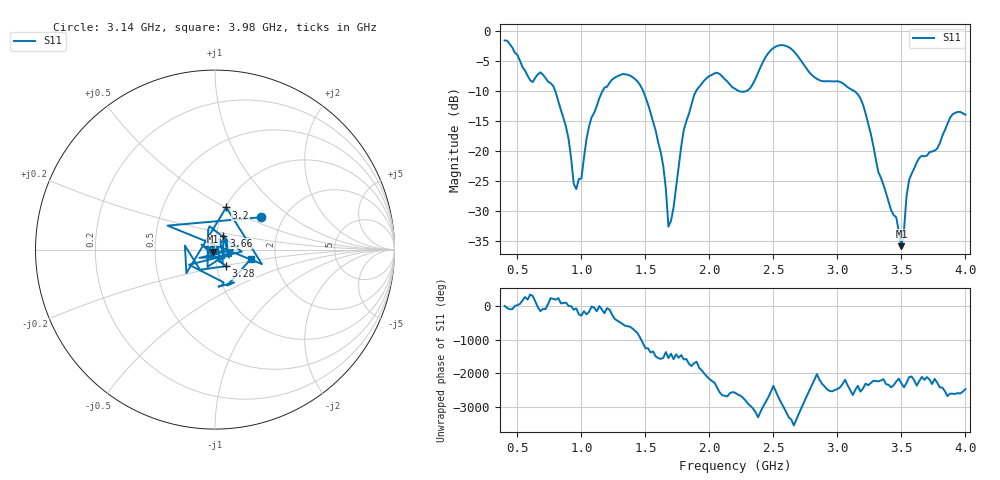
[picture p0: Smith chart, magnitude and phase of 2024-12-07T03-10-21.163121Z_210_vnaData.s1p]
!Created with skrf (http://scikit-rf.org).
# Hz S RI R 50.0
!freq ReS11 ImS11
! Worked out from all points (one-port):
!   181 points, 400 MHz to 4 GHz, reference 50 ohm
!   lowest |S11| = -35.9 dB at 3.5 GHz (marker M1), VSWR 1.03, Z = 49 - j1.2 ohm
!   |S11| at or under -10 dB: 795.3 MHz to 1.166 GHz (370.8 MHz wide, 37.8 % of centre); 1.482 GHz to 1.897 GHz (414.5 MHz wide, 24.5 % of centre); 3.129 GHz to end of sweep (the widest 3 of 4)
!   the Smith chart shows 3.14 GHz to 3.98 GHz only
!   S11 on the Smith chart (normalised r, x): 3.14 GHz: 1.53, +0.61; 3.2 GHz: 1.01, +0.50; 3.28 GHz: 1.11, -0.21; 3.66 GHz: 1.09, +0.17; 3.98 GHz: 1.48, -0.17
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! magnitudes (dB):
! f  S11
! 400 MHz  -1.6
! 600 MHz  -8.2
! 780 MHz  -9.2
! 860 MHz  -14.5
! 960 MHz  -26.4
! 1 GHz  -24.6
! 1.08 GHz  -14.4
! 1.3 GHz  -7.4
! 1.52 GHz  -12.2
! 1.64 GHz  -22.6
! 1.68 GHz  -32.6
! 1.76 GHz  -22.8
! 1.8 GHz  -16.5
! 1.9 GHz  -9.9
! 2.06 GHz  -7.0
! 2.2 GHz  -9.6
! 2.32 GHz  -9.5
! 2.5 GHz  -2.8
! 2.66 GHz  -3.4
! 3.1 GHz  -9.7
! 3.14 GHz  -10.1
! 3.2 GHz  -12.3
! 3.28 GHz  -19.1
! 3.5 GHz  -35.9
! 3.56 GHz  -24.9
! 3.66 GHz  -20.8
! 3.98 GHz  -13.7
! 4 GHz  -14.0
